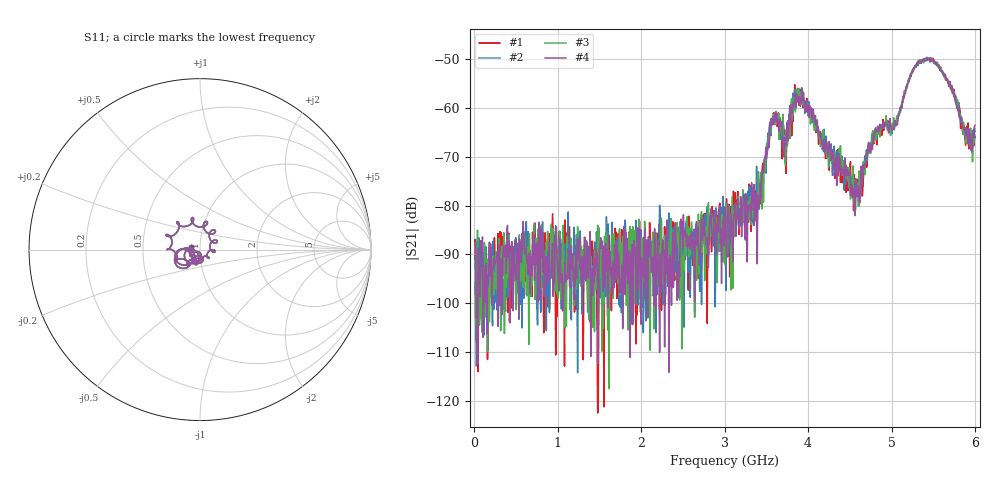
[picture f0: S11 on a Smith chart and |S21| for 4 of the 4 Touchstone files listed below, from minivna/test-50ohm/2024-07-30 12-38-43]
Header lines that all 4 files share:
! NanoVNA-App by OneOfEleven et al v1.1.209 (+OD15)
! Start: 50kHz Stop: 6GHz Points: 801
! S-Parameter data: F S11 S21 S12 S22
# Hz S RI R 50
!  Frequency  S11_Real  S11_Imag  S21_Real  S21_Imag  S12_Real  S12_Imag  S22_Real  S22_Imag
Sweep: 7.55 MHz to 6 GHz
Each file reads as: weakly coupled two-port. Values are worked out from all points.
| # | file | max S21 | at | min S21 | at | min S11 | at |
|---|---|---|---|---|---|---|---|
| 1 | 0.s2p | -49.80 dB | 5.483 GHz | -122.4 dB | 1.478 GHz | -36.3 dB | 5.003 GHz |
| 2 | 2.s2p | -49.65 dB | 5.423 GHz | -114.2 dB | 1.238 GHz | -36.3 dB | 5.003 GHz |
| 3 | 3.s2p | -49.70 dB | 5.46 GHz | -117.5 dB | 1.613 GHz | -36.2 dB | 5.003 GHz |
| 4 | 4.s2p | -49.75 dB | 5.415 GHz | -114.1 dB | 2.333 GHz | -36.5 dB | 5.003 GHz |
